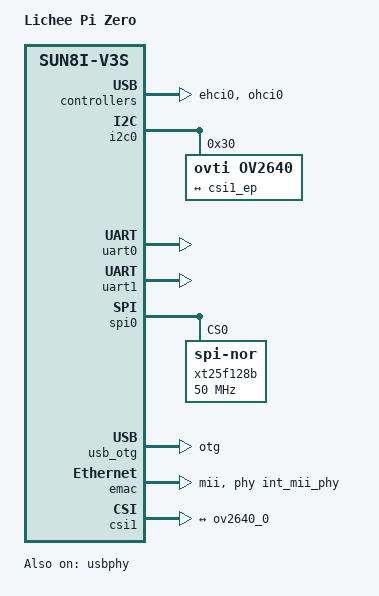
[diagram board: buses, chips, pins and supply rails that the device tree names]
/*
 * Copyright (C) 2016 Icenowy Zheng <icenowy@aosc.xyz>
 *
 * This file is dual-licensed: you can use it either under the terms
 * of the GPL or the X11 license, at your option. Note that this dual
 * licensing only applies to this file, and not this project as a
 * whole.
 *
 *  a) This file is free software; you can redistribute it and/or
 *     modify it under the terms of the GNU General Public License as
 *     published by the Free Software Foundation; either version 2 of the
 *     License, or (at your option) any later version.
 *
 *     This file is distributed in the hope that it will be useful,
 *     but WITHOUT ANY WARRANTY; without even the implied warranty of
 *     MERCHANTABILITY or FITNESS FOR A PARTICULAR PURPOSE.  See the
 *     GNU General Public License for more details.
 *
 * Or, alternatively,
 *
 *  b) Permission is hereby granted, free of charge, to any person
 *     obtaining a copy of this software and associated documentation
 *     files (the "Software"), to deal in the Software without
 *     restriction, including without limitation the rights to use,
 *     copy, modify, merge, publish, distribute, sublicense, and/or
 *     sell copies of the Software, and to permit persons to whom the
 *     Software is furnished to do so, subject to the following
 *     conditions:
 *
 *     The above copyright notice and this permission notice shall be
 *     included in all copies or substantial portions of the Software.
 *
 *     THE SOFTWARE IS PROVIDED "AS IS", WITHOUT WARRANTY OF ANY KIND,
 *     EXPRESS OR IMPLIED, INCLUDING BUT NOT LIMITED TO THE WARRANTIES
 *     OF MERCHANTABILITY, FITNESS FOR A PARTICULAR PURPOSE AND
 *     NONINFRINGEMENT. IN NO EVENT SHALL THE AUTHORS OR COPYRIGHT
 *     HOLDERS BE LIABLE FOR ANY CLAIM, DAMAGES OR OTHER LIABILITY,
 *     WHETHER IN AN ACTION OF CONTRACT, TORT OR OTHERWISE, ARISING
 *     FROM, OUT OF OR IN CONNECTION WITH THE SOFTWARE OR THE USE OR
 *     OTHER DEALINGS IN THE SOFTWARE.
 */

/dts-v1/;
#include "sun8i-v3s.dtsi"
#include "sunxi-common-regulators.dtsi"

/ {
	model = "Lichee Pi Zero";
	compatible = "licheepi,licheepi-zero", "allwinner,sun8i-v3s";

	aliases {
		serial0 = &uart0;
	};

	chosen {
		stdout-path = "serial0:115200n8";
	};

	
};

&ehci0 {
	status = "okay";
};



&i2c0 {
	status = "okay";
ov2640: camera@30 {
				compatible = "ovti,ov2640";
				reg = <0x30>;
				pinctrl-names = "default";
				pinctrl-0 = <&csi1_mclk>;
				clocks = <&ccu CLK_CSI1_MCLK>;
				clock-names = "xvclk";
				assigned-clocks = <&ccu CLK_CSI1_MCLK>;
				assigned-clock-rates = <24000000>;
		
				port {
					ov2640_0: endpoint {
						remote-endpoint = <&csi1_ep>;
						bus-width = <16>;
					};
				};
			};
};

&ohci0 {
	status = "okay";
};

&uart0 {
	pinctrl-0 = <&uart0_pb_pins>;
	pinctrl-names = "default";
	status = "okay";
};

&uart1 {
        pinctrl-0 = <&uart1_pe_pins>;
        pinctrl-names = "default";
        status = "okay";
};

&spi0 {
        status ="okay";

        xt25f128b:xt25f128b@0 {
                compatible = "jedec,spi-nor";
                reg = <0x0>;
                spi-max-frequency = <50000000>;
                #address-cells = <1>;
                #size-cells = <1>;
        };

};

&usb_otg {
	dr_mode = "otg";
	status = "okay";
};

&usbphy {
	usb0_id_det-gpios = <&pio 5 6 GPIO_ACTIVE_HIGH>;
	status = "okay";
};
&emac {
	phy-handle = <&int_mii_phy>;
	phy-mode = "mii";
	allwinner,leds-active-low;
	status = "okay";
};

&csi1 {
        pinctrl-0 = <&dtmb_csi_pins >;
        pinctrl-names = "default";
        status = "okay";
        port {
			/* Parallel bus endpoint */
			csi1_ep: endpoint {
				bus-width = <12>;
				remote-endpoint = <&ov2640_0>;
				/* If hsync-active/vsync-active are missing,
				   embedded BT.656 sync is used */
				hsync-active = <0>; /* Active high */
				vsync-active = <0>; /* Active high */
				pclk-sample = <1>;  /* Falling */
				};
			};
};

